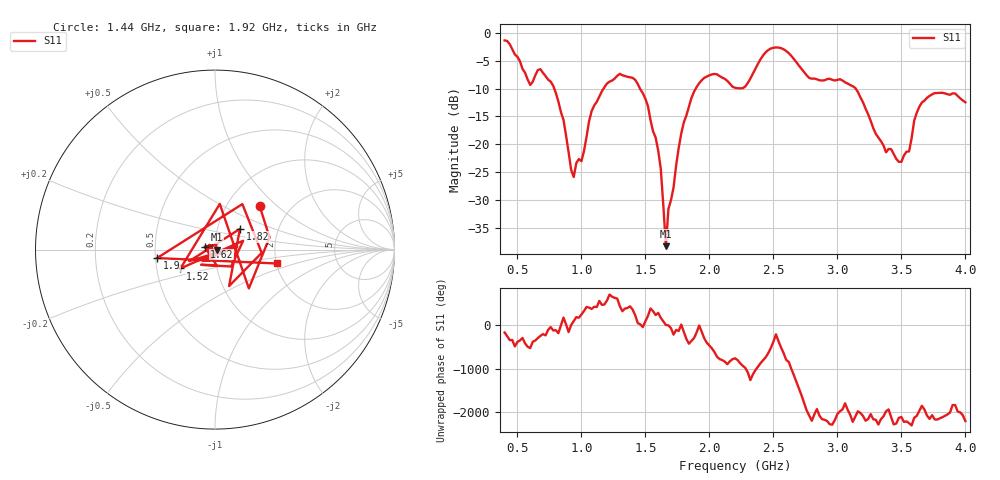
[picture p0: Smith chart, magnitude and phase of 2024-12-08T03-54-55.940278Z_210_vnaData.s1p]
!Created with skrf (http://scikit-rf.org).
# Hz S RI R 50.0
!freq ReS11 ImS11
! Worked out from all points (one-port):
!   181 points, 400 MHz to 4 GHz, reference 50 ohm
!   lowest |S11| = -38.3 dB at 1.66 GHz (marker M1), VSWR 1.02, Z = 51.2 - j0.0136 ohm
!   |S11| at or under -10 dB: 787.7 MHz to 1.174 GHz (385.8 MHz wide, 39.3 % of centre); 1.457 GHz to 1.894 GHz (436.3 MHz wide, 26 % of centre); 3.143 GHz to end of sweep
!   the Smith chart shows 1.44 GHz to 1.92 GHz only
!   S11 on the Smith chart (normalised r, x): 1.44 GHz: 1.41, +0.78; 1.52 GHz: 0.66, -0.15; 1.62 GHz: 0.89, +0.03; 1.82 GHz: 1.28, +0.31; 1.9 GHz: 0.51, -0.05; 1.92 GHz: 2.01, -0.36
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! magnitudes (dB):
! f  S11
! 400 MHz  -1.4
! 600 MHz  -9.4
! 680 MHz  -6.5
! 760 MHz  -8.8
! 860 MHz  -15.6
! 940 MHz  -25.9
! 1 GHz  -23.1
! 1.08 GHz  -14.1
! 1.3 GHz  -7.4
! 1.44 GHz  -9.2
! 1.52 GHz  -13.2
! 1.62 GHz  -24.4
! 1.66 GHz  -38.3
! 1.68 GHz  -31.6
! 1.76 GHz  -20.7
! 1.82 GHz  -14.9
! 1.9 GHz  -9.7
! 1.92 GHz  -9.0
! 2.2 GHz  -9.9
! 2.48 GHz  -2.8
! 2.66 GHz  -4.7
! 2.78 GHz  -8.1
! 3.1 GHz  -9.4
! 3.38 GHz  -21.5
! 3.56 GHz  -21.3
! 3.62 GHz  -14.4
! 3.7 GHz  -11.7
! 4 GHz  -12.5
